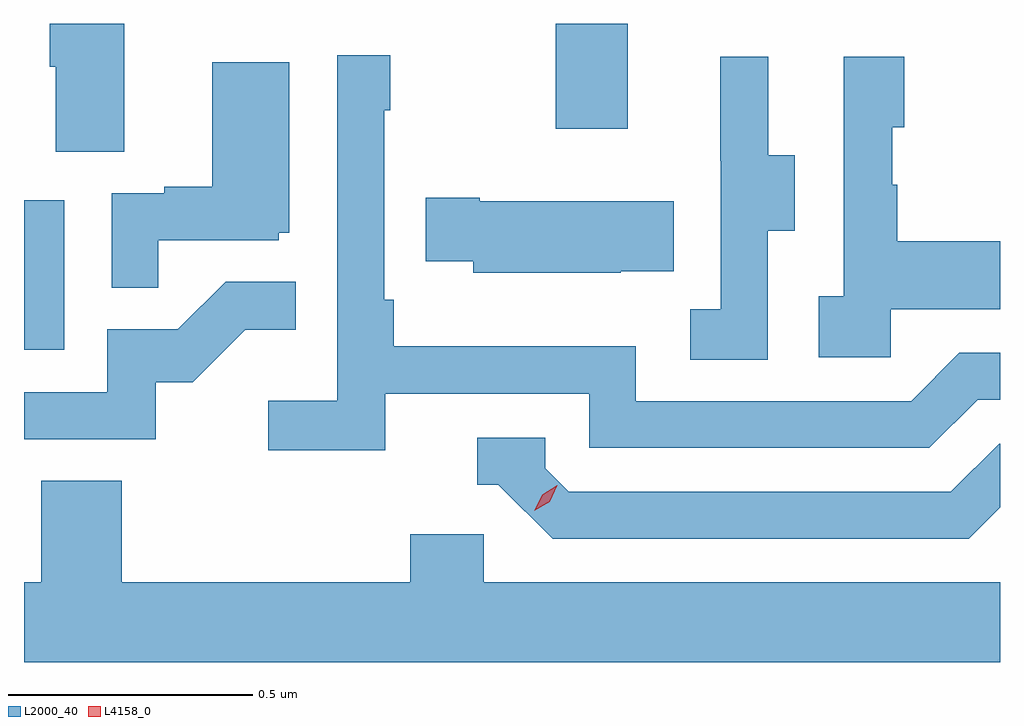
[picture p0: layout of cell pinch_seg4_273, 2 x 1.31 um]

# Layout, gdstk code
import gdstk
lib = gdstk.Library(unit=1e-6, precision=1e-09)
def R(c, l, rs):  # rectangles x0, y0, x1, y1
    for r in rs: c.add(gdstk.rectangle(r[:2], r[2:], *l))
def P(c, l, *ps):  # polygons
    for p in ps: c.add(gdstk.Polygon(p, *l))
L2000_40 = (2000, 40)
L4158_0 = (4158, 0)

pinch_seg4_273 = lib.new_cell('pinch_seg4_273')
R(pinch_seg4_273, L2000_40, [(944.844,824.1,944.926,824.407), (945.934,824.553,946.081,824.768)])
P(pinch_seg4_273, L2000_40, [(945.049,824.768),(944.897,824.768),(944.897,824.68),(944.909,824.68),(944.909,824.506),(945.049,824.506)],
  [(945.584,824.01),(946.002,824.01),(946.002,823.899),(946.699,823.899),(946.798,823.998),(946.844,823.998),(946.844,824.094),(946.761,824.094),(946.662,823.995),(946.098,823.995),(946.098,824.107),(945.602,824.107),(945.602,824.203),(945.582,824.203),(945.582,824.591),(945.595,824.591),(945.595,824.704),(945.486,824.704),(945.486,823.996),(945.345,823.996),(945.345,823.894),(945.584,823.894)],
  [(946.368,824.344),(946.423,824.344),(946.423,824.499),(946.369,824.499),(946.369,824.701),(946.271,824.701),(946.271,824.487),(946.272,824.487),(946.272,824.183),(946.209,824.183),(946.209,824.08),(946.368,824.08)],
  [(946.62,824.183),(946.844,824.183),(946.844,824.323),(946.633,824.323),(946.633,824.438),(946.623,824.438),(946.623,824.556),(946.648,824.556),(946.648,824.701),(946.524,824.701),(946.524,824.21),(946.473,824.21),(946.473,824.085),(946.62,824.085)],
  [(945.119,824.325),(945.366,824.325),(945.366,824.34),(945.388,824.34),(945.388,824.689),(945.23,824.689),(945.23,824.434),(945.131,824.434),(945.131,824.421),(945.024,824.421),(945.024,824.227),(945.119,824.227)],
  [(946.067,824.261),(946.175,824.261),(946.175,824.404),(945.778,824.404),(945.778,824.412),(945.667,824.412),(945.667,824.282),(945.765,824.282),(945.765,824.258),(946.067,824.258)],
  [(945.114,824.034),(945.19,824.034),(945.297,824.141),(945.401,824.141),(945.401,824.24),(945.257,824.24),(945.159,824.142),(945.015,824.142),(945.015,824.013),(944.844,824.013),(944.844,823.917),(945.114,823.917)],
  [(946.844,823.777),(946.844,823.908),(946.842,823.908),(946.743,823.809),(945.96,823.809),(945.912,823.857),(945.912,823.92),(945.773,823.92),(945.773,823.824),(945.816,823.824),(945.927,823.713),(946.78,823.713)],
  [(946.844,823.624),(945.786,823.624),(945.786,823.722),(945.635,823.722),(945.635,823.624),(945.044,823.624),(945.044,823.832),(944.879,823.832),(944.879,823.624),(944.844,823.624),(944.844,823.46),(946.844,823.46)])
P(pinch_seg4_273, L4158_0, [(945.89,823.77),(945.89,823.77),(945.906,823.803),(945.937,823.822),(945.937,823.822),(945.937,823.822),(945.921,823.789),(945.89,823.77)])

lib.write_gds('pinch_seg4_273.gds')
